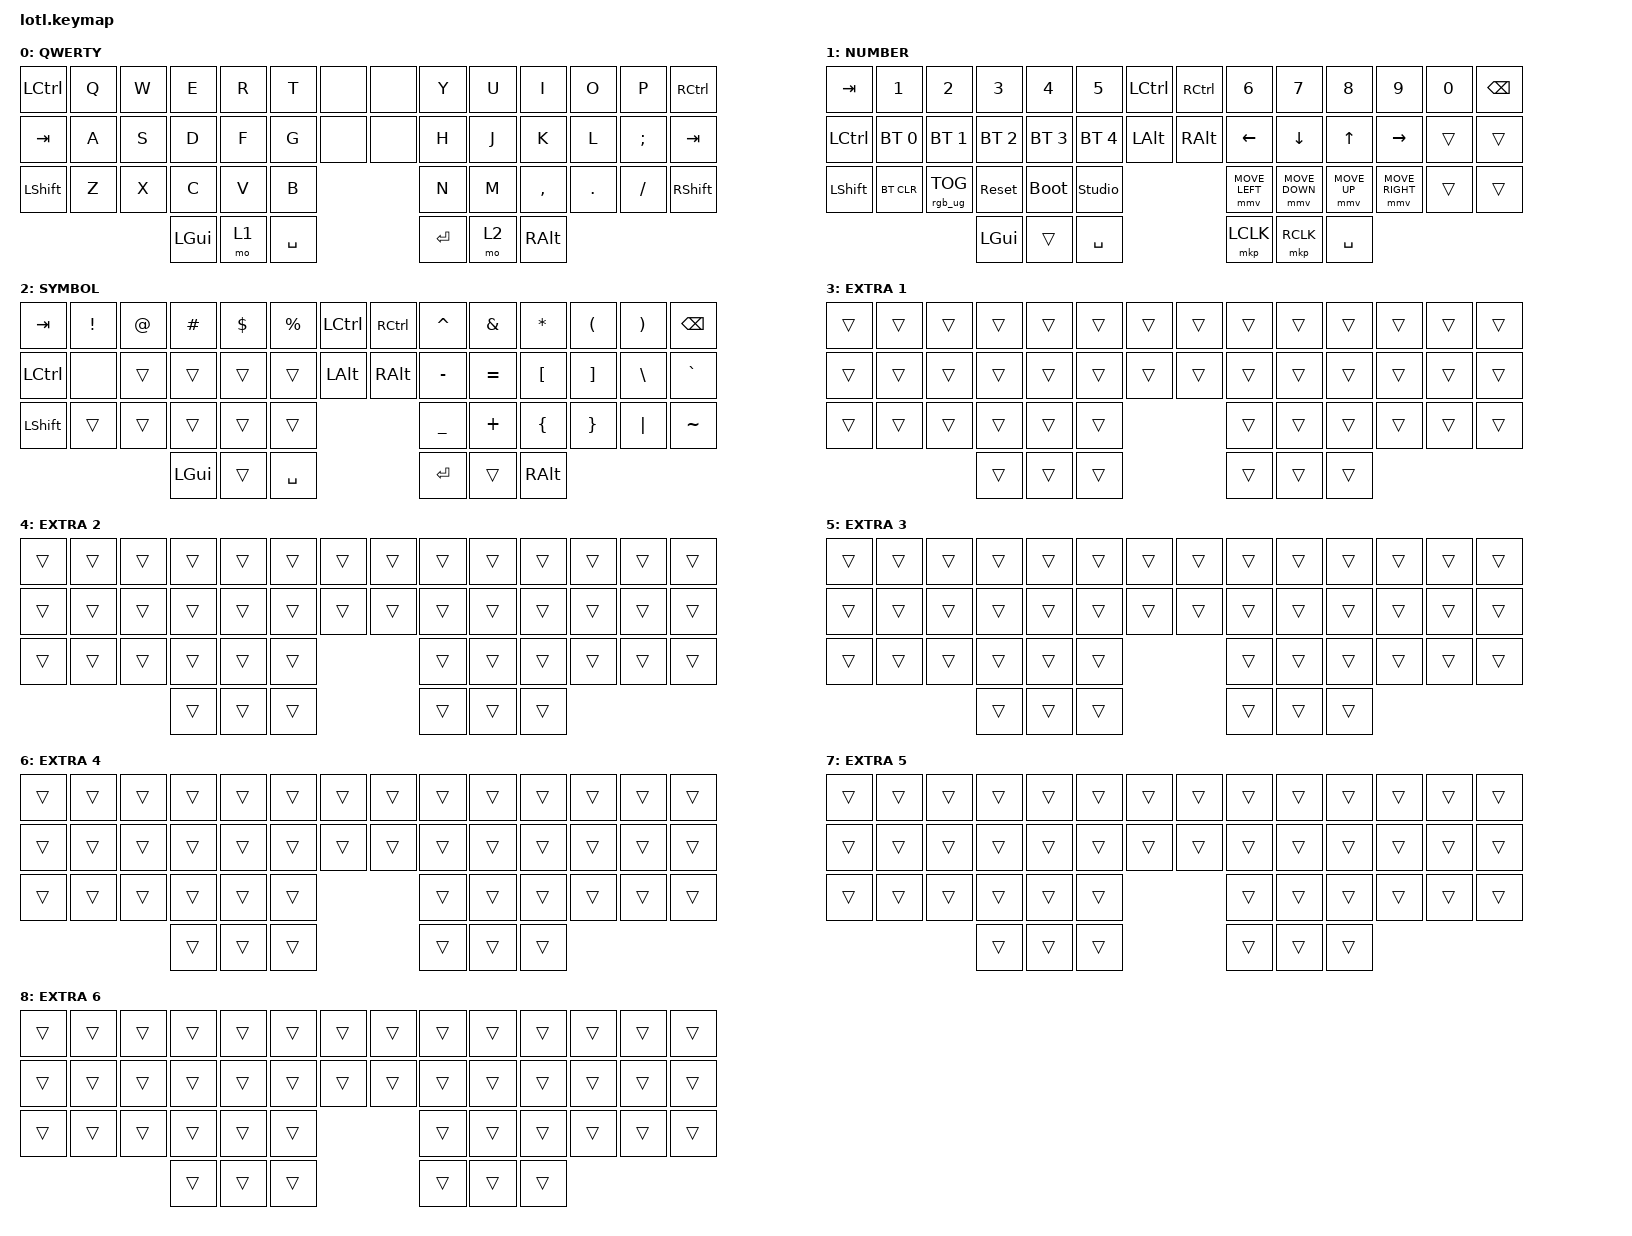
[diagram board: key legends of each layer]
/*
 * Copyright (c) 2020 The ZMK Contributors
 *
 * SPDX-License-Identifier: MIT
 */

#define ZMK_POINTING_DEFAULT_MOVE_VAL 1500  // default: 600
#define ZMK_POINTING_DEFAULT_SCRL_VAL 20    // default: 10

#include <behaviors.dtsi>
#include <dt-bindings/zmk/bt.h>
#include <dt-bindings/zmk/keys.h>
#include <dt-bindings/zmk/pointing.h>
#include <dt-bindings/zmk/rgb.h>

CONFIG_ZMK_POINTING {
    =y

/

    chosen { zmk,physical-layout = &default_layout; };
};

/ {
    keymap {
        compatible = "zmk,keymap";

        default_layer {
            display-name = "QWERTY";
            bindings = <
&kp LCTRL  &kp Q  &kp W  &kp E     &kp R  &kp T      &none  &none  &kp Y    &kp U  &kp I      &kp O    &kp P     &kp RCTRL
&kp TAB    &kp A  &kp S  &kp D     &kp F  &kp G      &none  &none  &kp H    &kp J  &kp K      &kp L    &kp SEMI  &kp TAB
&kp LSHFT  &kp Z  &kp X  &kp C     &kp V  &kp B                    &kp N    &kp M  &kp COMMA  &kp DOT  &kp FSLH  &kp RSHFT
                         &kp LGUI  &mo 1  &kp SPACE                &kp RET  &mo 2  &kp RALT
            >;
        };

        lower_layer {
            display-name = "NUMBER";
            bindings = <
&kp TAB    &kp N1        &kp N2           &kp N3        &kp N4        &kp N5          &kp LCTRL  &kp RCTRL  &kp N6          &kp N7          &kp N8        &kp N9           &kp N0  &kp BSPC
&kp LCTRL  &bt BT_SEL 0  &bt BT_SEL 1     &bt BT_SEL 2  &bt BT_SEL 3  &bt BT_SEL 4    &kp LALT   &kp RALT   &kp LEFT        &kp DOWN        &kp UP        &kp RIGHT        &trans  &trans
&kp LSHFT  &bt BT_CLR    &rgb_ug RGB_TOG  &sys_reset    &bootloader   &studio_unlock                        &mmv MOVE_LEFT  &mmv MOVE_DOWN  &mmv MOVE_UP  &mmv MOVE_RIGHT  &trans  &trans
                                          &kp LGUI      &trans        &kp SPACE                             &mkp LCLK       &mkp RCLK       &kp SPACE
            >;
        };

        raise_layer {
            display-name = "SYMBOL";
            bindings = <
&kp TAB    &kp EXCL  &kp AT  &kp HASH  &kp DLLR  &kp PRCNT  &kp LCTRL  &kp RCTRL  &kp CARET  &kp AMPS   &kp ASTRK  &kp LPAR  &kp RPAR  &kp BSPC
&kp LCTRL  &none     &trans  &trans    &trans    &trans     &kp LALT   &kp RALT   &kp MINUS  &kp EQUAL  &kp LBKT   &kp RBKT  &kp BSLH  &kp GRAVE
&kp LSHFT  &trans    &trans  &trans    &trans    &trans                           &kp UNDER  &kp PLUS   &kp LBRC   &kp RBRC  &kp PIPE  &kp TILDE
                             &kp LGUI  &trans    &kp SPACE                        &kp RET    &trans     &kp RALT
            >;
        };

        extra_layer_1 {
            display-name = "EXTRA 1";
            bindings = <
&trans  &trans  &trans  &trans  &trans  &trans  &trans  &trans  &trans  &trans  &trans  &trans  &trans  &trans
&trans  &trans  &trans  &trans  &trans  &trans  &trans  &trans  &trans  &trans  &trans  &trans  &trans  &trans
&trans  &trans  &trans  &trans  &trans  &trans                  &trans  &trans  &trans  &trans  &trans  &trans
                        &trans  &trans  &trans                  &trans  &trans  &trans
            >;
        };

        extra_layer_2 {
            display-name = "EXTRA 2";
            bindings = <
&trans  &trans  &trans  &trans  &trans  &trans  &trans  &trans  &trans  &trans  &trans  &trans  &trans  &trans
&trans  &trans  &trans  &trans  &trans  &trans  &trans  &trans  &trans  &trans  &trans  &trans  &trans  &trans
&trans  &trans  &trans  &trans  &trans  &trans                  &trans  &trans  &trans  &trans  &trans  &trans
                        &trans  &trans  &trans                  &trans  &trans  &trans
            >;
        };

        extra_layer_3 {
            display-name = "EXTRA 3";
            bindings = <
&trans  &trans  &trans  &trans  &trans  &trans  &trans  &trans  &trans  &trans  &trans  &trans  &trans  &trans
&trans  &trans  &trans  &trans  &trans  &trans  &trans  &trans  &trans  &trans  &trans  &trans  &trans  &trans
&trans  &trans  &trans  &trans  &trans  &trans                  &trans  &trans  &trans  &trans  &trans  &trans
                        &trans  &trans  &trans                  &trans  &trans  &trans
            >;
        };

        extra_layer_4 {
            display-name = "EXTRA 4";
            bindings = <
&trans  &trans  &trans  &trans  &trans  &trans  &trans  &trans  &trans  &trans  &trans  &trans  &trans  &trans
&trans  &trans  &trans  &trans  &trans  &trans  &trans  &trans  &trans  &trans  &trans  &trans  &trans  &trans
&trans  &trans  &trans  &trans  &trans  &trans                  &trans  &trans  &trans  &trans  &trans  &trans
                        &trans  &trans  &trans                  &trans  &trans  &trans
            >;
        };

        extra_layer_5 {
            display-name = "EXTRA 5";
            bindings = <
&trans  &trans  &trans  &trans  &trans  &trans  &trans  &trans  &trans  &trans  &trans  &trans  &trans  &trans
&trans  &trans  &trans  &trans  &trans  &trans  &trans  &trans  &trans  &trans  &trans  &trans  &trans  &trans
&trans  &trans  &trans  &trans  &trans  &trans                  &trans  &trans  &trans  &trans  &trans  &trans
                        &trans  &trans  &trans                  &trans  &trans  &trans
            >;
        };

        extra_layer_6 {
            display-name = "EXTRA 6";
            bindings = <
&trans  &trans  &trans  &trans  &trans  &trans  &trans  &trans  &trans  &trans  &trans  &trans  &trans  &trans
&trans  &trans  &trans  &trans  &trans  &trans  &trans  &trans  &trans  &trans  &trans  &trans  &trans  &trans
&trans  &trans  &trans  &trans  &trans  &trans                  &trans  &trans  &trans  &trans  &trans  &trans
                        &trans  &trans  &trans                  &trans  &trans  &trans
            >;
        };
    };
};
